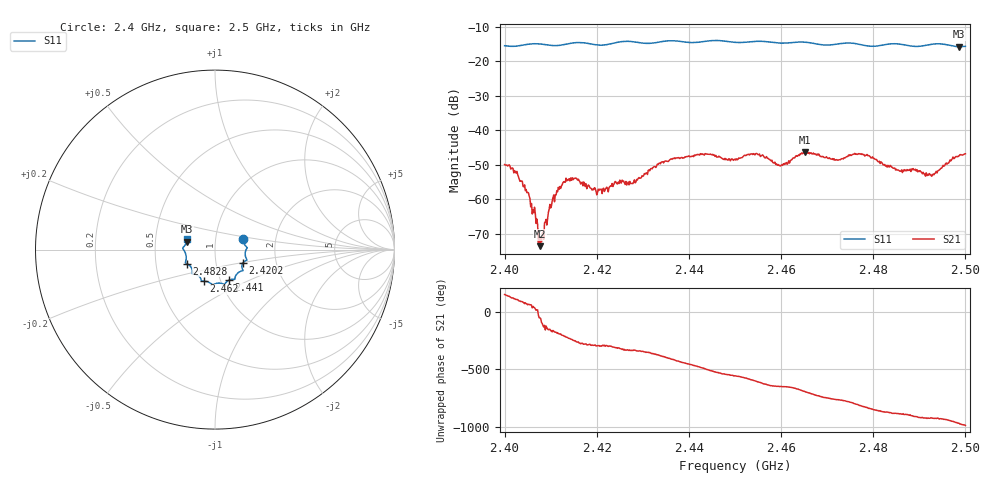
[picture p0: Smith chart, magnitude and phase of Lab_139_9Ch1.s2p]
# Hz S RI R 50
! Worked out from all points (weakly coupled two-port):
!   601 points, 2.4 GHz to 2.5 GHz, reference 50 ohm
!   highest |S21| = -46.40 dB at 2.4652 GHz (marker M1); lowest = -73.6 dB at 2.4077 GHz (marker M2)
!   lowest |S11| = -15.8 dB at 2.4987 GHz (marker M3), VSWR 1.39, Z = 36.3 + j3.26 ohm
!   |S11| at or under -10 dB: start of sweep to end of sweep
!   S12 and S22 are empty: the file has one direction only
!   S11 on the Smith chart (normalised r, x): 2.4 GHz: 1.36, +0.17; 2.4202 GHz: 1.36, -0.20; 2.441 GHz: 1.10, -0.39; 2.462 GHz: 0.83, -0.30; 2.4828 GHz: 0.72, -0.12; 2.5 GHz: 0.73, +0.09
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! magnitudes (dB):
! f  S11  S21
! 2.4 GHz  -15.5  -49.9
! 2.4048 GHz  -15.1  -58.1
! 2.4077 GHz  -14.9  -73.6
! 2.4102 GHz  -15.4  -61.9
! 2.4122 GHz  -15.3  -56.9
! 2.4167 GHz  -14.6  -55.4
! 2.4202 GHz  -15.3  -58.1
! 2.428 GHz  -14.3  -55.1
! 2.4333 GHz  -14.5  -49.9
! 2.441 GHz  -14.5  -47.7
! 2.45 GHz  -14.5  -48.3
! 2.4545 GHz  -14.2  -46.8
! 2.462 GHz  -14.6  -48.9
! 2.4652 GHz  -14.4  -46.4
! 2.4667 GHz  -14.7  -46.8
! 2.4722 GHz  -15.0  -48.6
! 2.4773 GHz  -15.2  -46.8
! 2.4828 GHz  -15.1  -50.2
! 2.4833 GHz  -15.0  -50.5
! 2.4928 GHz  -15.0  -53.1
! 2.4987 GHz  -15.8  -47.3
! 2.5 GHz  -15.6  -46.8
